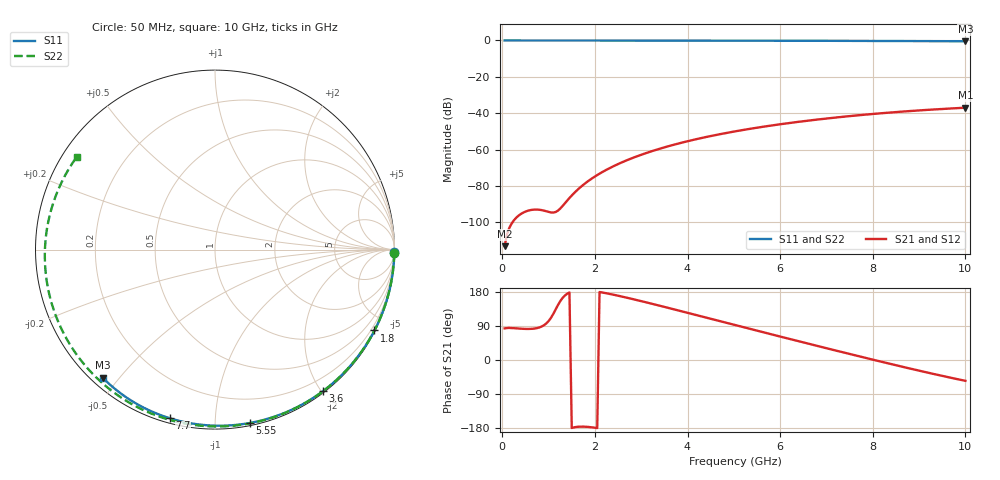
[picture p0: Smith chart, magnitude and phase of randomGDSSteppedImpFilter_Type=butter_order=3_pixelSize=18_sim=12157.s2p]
! freq	dB(S11)	phase(S11)	dB(S12)	phase(S12)
!  dB(S21)	phase(S21)	dB(S22)	phase(S22)
!S-par simulation data
#  GHz  S  DB  R 50
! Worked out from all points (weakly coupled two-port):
!   200 points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, 50 MHz to 10 GHz, reference 50 ohm
!   highest |S21| = -36.95 dB at 10 GHz (marker M1); lowest = -113.0 dB at 50 MHz (marker M2)
!   lowest |S11| = -0.5 dB at 10 GHz (marker M3), VSWR 38.42, Z = 1.57 - j22.6 ohm
!   |S11| at or under -10 dB: nowhere
!   |S22| runs from -0.7 to 0.0 dB; largest |S21 - S12| = 0
!   S11 on the Smith chart (normalised r, x): 50 MHz: open; 1.8 GHz: 0.04, -4.18; 3.6 GHz: 0.02, -2.02; 5.55 GHz: 0.02, -1.22; 7.7 GHz: 0.02, -0.77; 10 GHz: 0.03, -0.45
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0.05  -0.00 -0.7  -113.04 83.4  -113.04 83.4  -0.00 -1.1
0.85  -0.02 -12.8  -93.23 88.3  -93.23 88.3  -0.02 -19.5
1.7  -0.03 -25.4  -80.36 -175.8  -80.36 -175.8  -0.05 -38.6
1.75  -0.03 -26.2  -79.31 -175.8  -79.31 -175.8  -0.05 -39.7
1.8  -0.03 -26.9  -78.31 -176.1  -78.31 -176.1  -0.05 -40.8
2.1  -0.04 -31.3  -73.19 179.4  -73.19 179.4  -0.06 -47.4
2.5  -0.05 -37.1  -67.92 169.7  -67.92 169.7  -0.07 -56.1
2.9  -0.06 -42.8  -63.73 158.3  -63.73 158.3  -0.08 -64.6
3.4  -0.07 -49.8  -59.49 143.2  -59.49 143.2  -0.10 -75.1
3.6  -0.07 -52.6  -58.02 137.0  -58.02 137.0  -0.11 -79.2
4.3  -0.09 -62.2  -53.62 115.1  -53.62 115.1  -0.13 -93.5
5.05  -0.11 -72.1  -49.85 91.5  -49.85 91.5  -0.17 -108.4
5.55  -0.13 -78.6  -47.74 75.9  -47.74 75.9  -0.20 -118.3
6.1  -0.15 -85.5  -45.71 58.8  -45.71 58.8  -0.23 -129.1
6.7  -0.18 -92.9  -43.77 40.3  -43.77 40.3  -0.28 -140.9
7.2  -0.21 -99.0  -42.35 25.0  -42.35 25.0  -0.32 -150.9
7.7  -0.24 -104.9  -41.08 9.9  -41.08 9.9  -0.37 -161.1
8.35  -0.29 -112.5  -39.65 -9.4  -39.65 -9.4  -0.44 -174.9
8.8  -0.33 -117.7  -38.79 -22.5  -38.79 -22.5  -0.49 175.1
9.2  -0.36 -122.2  -38.11 -33.7  -38.11 -33.7  -0.55 165.9
9.6  -0.41 -126.8  -37.50 -44.6  -37.50 -44.6  -0.60 156.2
10  -0.45 -131.3  -36.95 -54.9  -36.95 -54.9  -0.66 146.0
